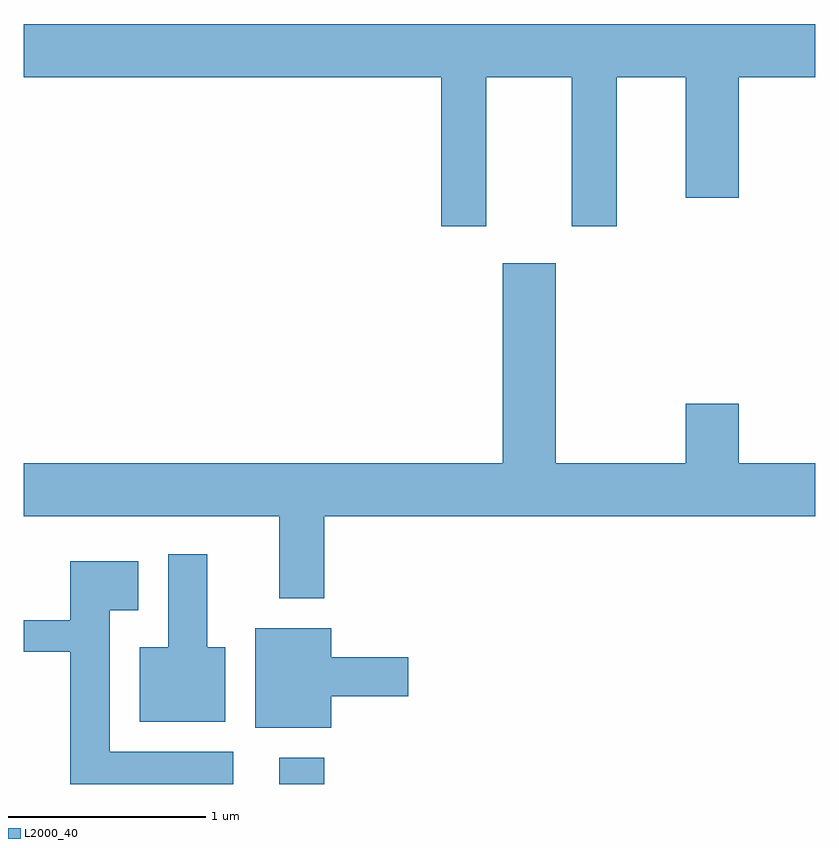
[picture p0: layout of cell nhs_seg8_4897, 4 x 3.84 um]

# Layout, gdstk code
import gdstk
lib = gdstk.Library(unit=1e-6, precision=1e-09)
def R(c, l, rs):  # rectangles x0, y0, x1, y1
    for r in rs: c.add(gdstk.rectangle(r[:2], r[2:], *l))
def P(c, l, *ps):  # polygons
    for p in ps: c.add(gdstk.Polygon(p, *l))
L2000_40 = (2000, 40)

nhs_seg8_4897 = lib.new_cell('nhs_seg8_4897')
R(nhs_seg8_4897, L2000_40, [(332.901,1888.342,333.129,1888.474)])
P(nhs_seg8_4897, L2000_40, [(333.949,1891.916),(334.381,1891.916),(334.381,1891.161),(334.609,1891.161),(334.609,1891.916),(334.956,1891.916),(334.956,1891.306),(335.224,1891.306),(335.224,1891.916),(335.611,1891.916),(335.611,1892.184),(331.611,1892.184),(331.611,1891.916),(333.721,1891.916),(333.721,1891.161),(333.949,1891.161)],
  [(333.129,1889.696),(335.611,1889.696),(335.611,1889.964),(335.224,1889.964),(335.224,1890.264),(334.956,1890.264),(334.956,1889.964),(334.299,1889.964),(334.299,1890.974),(334.031,1890.974),(334.031,1889.964),(331.611,1889.964),(331.611,1889.696),(332.901,1889.696),(332.901,1889.281),(333.129,1889.281)],
  [(332.629,1889.034),(332.539,1889.034),(332.539,1889.504),(332.341,1889.504),(332.341,1889.034),(332.196,1889.034),(332.196,1888.656),(332.629,1888.656)],
  [(332.669,1888.504),(332.044,1888.504),(332.044,1889.221),(332.189,1889.221),(332.189,1889.469),(331.846,1889.469),(331.846,1889.169),(331.611,1889.169),(331.611,1889.011),(331.846,1889.011),(331.846,1888.342),(332.669,1888.342)],
  [(333.164,1888.786),(333.554,1888.786),(333.554,1888.984),(333.164,1888.984),(333.164,1889.129),(332.781,1889.129),(332.781,1888.626),(333.164,1888.626)])

lib.write_gds('nhs_seg8_4897.gds')
